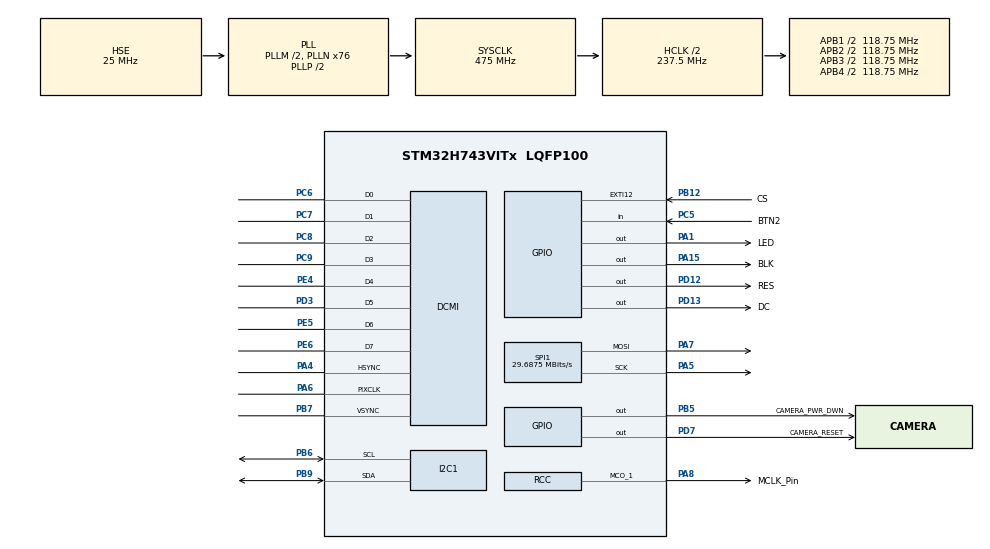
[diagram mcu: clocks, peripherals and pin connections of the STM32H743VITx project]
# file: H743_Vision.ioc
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CORTEX_M7.default_mode_Activation=1
DCMI.JPEGMode=DCMI_JPEG_DISABLE
DCMI.PCKPolarity=DCMI_PCKPOLARITY_RISING
DCMI.VSPolarity=DCMI_VSPOLARITY_HIGH
Dma.DCMI.0.Direction=DMA_PERIPH_TO_MEMORY
Dma.DCMI.0.EventEnable=DISABLE
Dma.DCMI.0.FIFOMode=DMA_FIFOMODE_DISABLE
Dma.DCMI.0.Instance=DMA1_Stream1
Dma.DCMI.0.MemDataAlignment=DMA_MDATAALIGN_WORD
Dma.DCMI.0.MemInc=DMA_MINC_ENABLE
Dma.DCMI.0.Mode=DMA_NORMAL
Dma.DCMI.0.PeriphDataAlignment=DMA_PDATAALIGN_WORD
Dma.DCMI.0.PeriphInc=DMA_PINC_DISABLE
Dma.DCMI.0.Polarity=HAL_DMAMUX_REQ_GEN_RISING
Dma.DCMI.0.Priority=DMA_PRIORITY_MEDIUM
Dma.DCMI.0.RequestNumber=1
Dma.DCMI.0.SignalID=NONE
Dma.DCMI.0.SyncEnable=DISABLE
Dma.DCMI.0.SyncPolarity=HAL_DMAMUX_SYNC_NO_EVENT
Dma.DCMI.0.SyncRequestNumber=1
Dma.DCMI.0.SyncSignalID=NONE
Dma.Request0=DCMI
I2C1.Timing=0x307076AD
Mcu.Family=STM32H7
Mcu.Name=STM32H743VITx
Mcu.Package=LQFP100
NVIC.DCMI_IRQn=true\:0\:0\:false\:false\:true\:true\:true\:true
NVIC.DMA1_Stream1_IRQn=true\:0\:0\:false\:false\:true\:false\:true\:true
NVIC.PriorityGroup=NVIC_PRIORITYGROUP_4
PA1.GPIO_Label=LED
PA1.Signal=GPIO_Output
PA13\ (JTMS/SWDIO).Mode=Serial_Wire
PA13\ (JTMS/SWDIO).Signal=DEBUG_JTMS-SWDIO
PA14\ (JTCK/SWCLK).Mode=Serial_Wire
PA14\ (JTCK/SWCLK).Signal=DEBUG_JTCK-SWCLK
PA15\ (JTDI).GPIO_Label=BLK
PA15\ (JTDI).Signal=GPIO_Output
PA4.Mode=Slave_8_bits_External_Synchro
PA4.Signal=DCMI_HSYNC
PA5.Mode=TX_Only_Simplex_Unidirect_Master
PA5.Signal=SPI1_SCK
PA6.Mode=Slave_8_bits_External_Synchro
PA6.Signal=DCMI_PIXCLK
PA7.Mode=TX_Only_Simplex_Unidirect_Master
PA7.Signal=SPI1_MOSI
PA8.GPIO_Label=MCLK_Pin
PA8.Mode=Clock-out-1
PA8.Signal=RCC_MCO_1
PB12.GPIO_Label=CS
PB12.GPIO_PuPd=GPIO_PULLDOWN
PB12.Signal=GPXTI12
PB5.GPIO_Label=CAMERA_PWR_DWN
PB5.Signal=GPIO_Output
PB6.Mode=I2C
PB6.Signal=I2C1_SCL
PB7.Mode=Slave_8_bits_External_Synchro
PB7.Signal=DCMI_VSYNC
PB9.Mode=I2C
PB9.Signal=I2C1_SDA
PC14-OSC32_IN\ (OSC32_IN).Mode=LSE-External-Clock-Source
PC14-OSC32_IN\ (OSC32_IN).Signal=RCC_OSC32_IN
PC5.GPIO_Label=BTN2
PC5.GPIO_PuPd=GPIO_PULLUP
PC5.Signal=GPIO_Input
PC6.Mode=Slave_8_bits_External_Synchro
PC6.Signal=DCMI_D0
PC7.Mode=Slave_8_bits_External_Synchro
PC7.Signal=DCMI_D1
PC8.Mode=Slave_8_bits_External_Synchro
PC8.Signal=DCMI_D2
PC9.Mode=Slave_8_bits_External_Synchro
PC9.Signal=DCMI_D3
PD12.GPIO_Label=RES
PD12.Signal=GPIO_Output
PD13.GPIO_Label=DC
PD13.Signal=GPIO_Output
PD3.Mode=Slave_8_bits_External_Synchro
PD3.Signal=DCMI_D5
PD7.GPIO_Label=CAMERA_RESET
PD7.Signal=GPIO_Output
PE4.Mode=Slave_8_bits_External_Synchro
PE4.Signal=DCMI_D4
PE5.Mode=Slave_8_bits_External_Synchro
PE5.Signal=DCMI_D6
PE6.Mode=Slave_8_bits_External_Synchro
PE6.Signal=DCMI_D7
PH0-OSC_IN\ (PH0).Mode=HSE-External-Oscillator
PH0-OSC_IN\ (PH0).Signal=RCC_OSC_IN
PH1-OSC_OUT\ (PH1).Mode=HSE-External-Oscillator
PH1-OSC_OUT\ (PH1).Signal=RCC_OSC_OUT
ProjectManager.HeapSize=0x200
ProjectManager.StackSize=0x400
ProjectManager.TargetToolchain=STM32CubeIDE
RCC.ADCFreq_Value=50390625
RCC.APB1Freq_Value=118750000
RCC.APB2Freq_Value=118750000
RCC.APB3Freq_Value=118750000
RCC.APB4Freq_Value=118750000
RCC.CortexFreq_Value=475000000
RCC.D1PPRE=RCC_APB3_DIV2
RCC.D2PPRE1=RCC_APB1_DIV2
RCC.D2PPRE2=RCC_APB2_DIV2
RCC.D3PPRE=RCC_APB4_DIV2
RCC.DIVM1=2
RCC.DIVN1=76
RCC.DIVQ1=16
RCC.HCLKFreq_Value=237500000
RCC.HPRE=RCC_HCLK_DIV2
RCC.PLLSourceVirtual=RCC_PLLSOURCE_HSE
RCC.RCC_MCO1Source=RCC_MCO1SOURCE_HSE
RCC.SYSCLKFreq_VALUE=475000000
RCC.SYSCLKSource=RCC_SYSCLKSOURCE_PLLCLK
RCC.USBFreq_Value=59375000
SPI1.BaudRatePrescaler=SPI_BAUDRATEPRESCALER_2
SPI1.CLKPhase=SPI_PHASE_2EDGE
SPI1.CLKPolarity=SPI_POLARITY_HIGH
SPI1.CalculateBaudRate=29.6875 MBits/s
SPI1.DataSize=SPI_DATASIZE_8BIT
SPI1.Direction=SPI_DIRECTION_2LINES_TXONLY
SPI1.Mode=SPI_MODE_MASTER
SPI1.VirtualType=VM_MASTER
VP_MEMORYMAP_VS_MEMORYMAP.Mode=CurAppReg
board=custom

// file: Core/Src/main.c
/* USER CODE BEGIN Header */
/**
  ******************************************************************************
  * @file           : main.c
  * @brief          : Main program body
  ******************************************************************************
  * @attention
  *
  * Copyright (c) 2025 STMicroelectronics.
  * All rights reserved.
  *
  * This software is licensed under terms that can be found in the LICENSE file
  * in the root directory of this software component.
  * If no LICENSE file comes with this software, it is provided AS-IS.
  *
  ******************************************************************************
  */
/* USER CODE END Header */
#include "main.h"

/* USER CODE BEGIN Includes */
#include <OV7670.h>
#include <st7789.h>
/* USER CODE END Includes */

DCMI_HandleTypeDef hdcmi;
DMA_HandleTypeDef hdma_dcmi;

I2C_HandleTypeDef hi2c1;

SPI_HandleTypeDef hspi1;

/* USER CODE BEGIN PV */
uint32_t frame_buffer[OV7670_QVGA_WIDTH * OV7670_QVGA_HEIGHT/2];
uint8_t new_capture = 0;
/* USER CODE END PV */

void SystemClock_Config(void);
static void MPU_Config(void);
static void MX_GPIO_Init(void);
static void MX_DMA_Init(void);
static void MX_DCMI_Init(void);
static void MX_I2C1_Init(void);
static void MX_SPI1_Init(void);
/* USER CODE BEGIN PFP */
static void onFrameCallback();
/* USER CODE END PFP */

int main(void)
{

  /* MPU Configuration--------------------------------------------------------*/
  MPU_Config();

  /* MCU Configuration--------------------------------------------------------*/

  /* Reset of all peripherals, Initializes the Flash interface and the Systick. */
  HAL_Init();

  /* Configure the system clock */
  SystemClock_Config();

  /* Initialize all configured peripherals */
  MX_GPIO_Init();
  MX_DMA_Init();
  MX_DCMI_Init();
  MX_I2C1_Init();
  MX_SPI1_Init();
  /* USER CODE BEGIN 2 */
  HAL_GPIO_WritePin( BLK_GPIO_Port, BLK_Pin, GPIO_PIN_SET );
  ST7789_Init();
  ST7789_rotation( 2 );

  HAL_GPIO_WritePin(CAMERA_PWR_DWN_GPIO_Port, CAMERA_PWR_DWN_Pin, GPIO_PIN_RESET);
  ov7670_init(&hdcmi, &hdma_dcmi, &hi2c1);
  ov7670_config(OV7670_MODE_QVGA_RGB565);
  ov7670_registerCallback(NULL, NULL, &onFrameCallback);
//  ov7670_write(0x11, 0x01);
  /* USER CODE END 2 */

  /* Infinite loop */
  /* USER CODE BEGIN WHILE */
  ov7670_write(0x12, 0x14);
//  ST7789_SendData(ST7789_MADCTL_BGR);
  while (1)
  {
//	if (new_capture) ILI9341_Draw_Image_From_OV7670((unsigned char*) frame_buffer);
	if (new_capture) {
//		ST7789_Clear();
//		ST7789_DrawCircle(100, 100, 50, RGB565(255, 0, 0));
		ST7789_DrawImage(0, 0, 320, 240, (uint16_t *)frame_buffer);
		ST7789_Update();
		HAL_GPIO_TogglePin(LED_GPIO_Port, LED_Pin);
	}
//	if (HAL_GPIO_ReadPin(BTN2_GPIO_Port, BTN2_Pin) == 0) HAL_GPIO_TogglePin(LED_GPIO_Port, LED_Pin);
	if (HAL_GPIO_ReadPin(BTN2_GPIO_Port, BTN2_Pin) == 0){
	    //ov7670_startCap(OV7670_CAP_SINGLE_FRAME, (uint32_t)frame_buffer);
//		HAL_GPIO_TogglePin(LED_GPIO_Port, LED_Pin);
	    ov7670_startCap(OV7670_CAP_SINGLE_FRAME, (uint32_t)frame_buffer);
    }
//	ST7789_FillScreen(RGB565(0, 255, 0));
	ST7789_Update();
	ov7670_startCap(OV7670_CAP_SINGLE_FRAME, (uint32_t)frame_buffer);
    /* USER CODE END WHILE */

  }
}

void SystemClock_Config(void)
{
  RCC_OscInitTypeDef RCC_OscInitStruct = {0};
  RCC_ClkInitTypeDef RCC_ClkInitStruct = {0};

  /** Supply configuration update enable
  */
  HAL_PWREx_ConfigSupply(PWR_LDO_SUPPLY);

  /** Configure the main internal regulator output voltage
  */
  __HAL_PWR_VOLTAGESCALING_CONFIG(PWR_REGULATOR_VOLTAGE_SCALE0);

  while(!__HAL_PWR_GET_FLAG(PWR_FLAG_VOSRDY)) {}

  /** Initializes the RCC Oscillators according to the specified parameters
  * in the RCC_OscInitTypeDef structure.
  */
  RCC_OscInitStruct.OscillatorType = RCC_OSCILLATORTYPE_HSE;
  RCC_OscInitStruct.HSEState = RCC_HSE_ON;
  RCC_OscInitStruct.PLL.PLLState = RCC_PLL_ON;
  RCC_OscInitStruct.PLL.PLLSource = RCC_PLLSOURCE_HSE;
  RCC_OscInitStruct.PLL.PLLM = 2;
  RCC_OscInitStruct.PLL.PLLN = 76;
  RCC_OscInitStruct.PLL.PLLP = 2;
  RCC_OscInitStruct.PLL.PLLQ = 16;
  RCC_OscInitStruct.PLL.PLLR = 2;
  RCC_OscInitStruct.PLL.PLLRGE = RCC_PLL1VCIRANGE_3;
  RCC_OscInitStruct.PLL.PLLVCOSEL = RCC_PLL1VCOWIDE;
  RCC_OscInitStruct.PLL.PLLFRACN = 0;
  if (HAL_RCC_OscConfig(&RCC_OscInitStruct) != HAL_OK)
  {
    Error_Handler();
  }

  /** Initializes the CPU, AHB and APB buses clocks
  */
  RCC_ClkInitStruct.ClockType = RCC_CLOCKTYPE_HCLK|RCC_CLOCKTYPE_SYSCLK
                              |RCC_CLOCKTYPE_PCLK1|RCC_CLOCKTYPE_PCLK2
                              |RCC_CLOCKTYPE_D3PCLK1|RCC_CLOCKTYPE_D1PCLK1;
  RCC_ClkInitStruct.SYSCLKSource = RCC_SYSCLKSOURCE_PLLCLK;
  RCC_ClkInitStruct.SYSCLKDivider = RCC_SYSCLK_DIV1;
  RCC_ClkInitStruct.AHBCLKDivider = RCC_HCLK_DIV2;
  RCC_ClkInitStruct.APB3CLKDivider = RCC_APB3_DIV2;
  RCC_ClkInitStruct.APB1CLKDivider = RCC_APB1_DIV2;
  RCC_ClkInitStruct.APB2CLKDivider = RCC_APB2_DIV2;
  RCC_ClkInitStruct.APB4CLKDivider = RCC_APB4_DIV2;

  if (HAL_RCC_ClockConfig(&RCC_ClkInitStruct, FLASH_LATENCY_4) != HAL_OK)
  {
    Error_Handler();
  }
  HAL_RCC_MCOConfig(RCC_MCO1, RCC_MCO1SOURCE_HSE, RCC_MCODIV_1);
}

static void MX_DCMI_Init(void)
{

  hdcmi.Instance = DCMI;
  hdcmi.Init.SynchroMode = DCMI_SYNCHRO_HARDWARE;
  hdcmi.Init.PCKPolarity = DCMI_PCKPOLARITY_RISING;
  hdcmi.Init.VSPolarity = DCMI_VSPOLARITY_HIGH;
  hdcmi.Init.HSPolarity = DCMI_HSPOLARITY_LOW;
  hdcmi.Init.CaptureRate = DCMI_CR_ALL_FRAME;
  hdcmi.Init.ExtendedDataMode = DCMI_EXTEND_DATA_8B;
  hdcmi.Init.JPEGMode = DCMI_JPEG_DISABLE;
  hdcmi.Init.ByteSelectMode = DCMI_BSM_ALL;
  hdcmi.Init.ByteSelectStart = DCMI_OEBS_ODD;
  hdcmi.Init.LineSelectMode = DCMI_LSM_ALL;
  hdcmi.Init.LineSelectStart = DCMI_OELS_ODD;
  if (HAL_DCMI_Init(&hdcmi) != HAL_OK)
  {
    Error_Handler();
  }

}

static void MX_I2C1_Init(void)
{

  hi2c1.Instance = I2C1;
  hi2c1.Init.Timing = 0x307076AD;
  hi2c1.Init.OwnAddress1 = 0;
  hi2c1.Init.AddressingMode = I2C_ADDRESSINGMODE_7BIT;
  hi2c1.Init.DualAddressMode = I2C_DUALADDRESS_DISABLE;
  hi2c1.Init.OwnAddress2 = 0;
  hi2c1.Init.OwnAddress2Masks = I2C_OA2_NOMASK;
  hi2c1.Init.GeneralCallMode = I2C_GENERALCALL_DISABLE;
  hi2c1.Init.NoStretchMode = I2C_NOSTRETCH_DISABLE;
  if (HAL_I2C_Init(&hi2c1) != HAL_OK)
  {
    Error_Handler();
  }

  /** Configure Analogue filter
  */
  if (HAL_I2CEx_ConfigAnalogFilter(&hi2c1, I2C_ANALOGFILTER_ENABLE) != HAL_OK)
  {
    Error_Handler();
  }

  /** Configure Digital filter
  */
  if (HAL_I2CEx_ConfigDigitalFilter(&hi2c1, 0) != HAL_OK)
  {
    Error_Handler();
  }

}

static void MX_SPI1_Init(void)
{

  /* SPI1 parameter configuration*/
  hspi1.Instance = SPI1;
  hspi1.Init.Mode = SPI_MODE_MASTER;
  hspi1.Init.Direction = SPI_DIRECTION_2LINES_TXONLY;
  hspi1.Init.DataSize = SPI_DATASIZE_8BIT;
  hspi1.Init.CLKPolarity = SPI_POLARITY_HIGH;
  hspi1.Init.CLKPhase = SPI_PHASE_2EDGE;
  hspi1.Init.NSS = SPI_NSS_SOFT;
  hspi1.Init.BaudRatePrescaler = SPI_BAUDRATEPRESCALER_2;
  hspi1.Init.FirstBit = SPI_FIRSTBIT_MSB;
  hspi1.Init.TIMode = SPI_TIMODE_DISABLE;
  hspi1.Init.CRCCalculation = SPI_CRCCALCULATION_DISABLE;
  hspi1.Init.CRCPolynomial = 0x0;
  hspi1.Init.NSSPMode = SPI_NSS_PULSE_ENABLE;
  hspi1.Init.NSSPolarity = SPI_NSS_POLARITY_LOW;
  hspi1.Init.FifoThreshold = SPI_FIFO_THRESHOLD_01DATA;
  hspi1.Init.TxCRCInitializationPattern = SPI_CRC_INITIALIZATION_ALL_ZERO_PATTERN;
  hspi1.Init.RxCRCInitializationPattern = SPI_CRC_INITIALIZATION_ALL_ZERO_PATTERN;
  hspi1.Init.MasterSSIdleness = SPI_MASTER_SS_IDLENESS_00CYCLE;
  hspi1.Init.MasterInterDataIdleness = SPI_MASTER_INTERDATA_IDLENESS_00CYCLE;
  hspi1.Init.MasterReceiverAutoSusp = SPI_MASTER_RX_AUTOSUSP_DISABLE;
  hspi1.Init.MasterKeepIOState = SPI_MASTER_KEEP_IO_STATE_DISABLE;
  hspi1.Init.IOSwap = SPI_IO_SWAP_DISABLE;
  if (HAL_SPI_Init(&hspi1) != HAL_OK)
  {
    Error_Handler();
  }

}

static void MX_DMA_Init(void)
{

  /* DMA controller clock enable */
  __HAL_RCC_DMA1_CLK_ENABLE();

  /* DMA interrupt init */
  /* DMA1_Stream1_IRQn interrupt configuration */
  HAL_NVIC_SetPriority(DMA1_Stream1_IRQn, 0, 0);
  HAL_NVIC_EnableIRQ(DMA1_Stream1_IRQn);

}

static void MX_GPIO_Init(void)
{
  GPIO_InitTypeDef GPIO_InitStruct = {0};

  /* GPIO Ports Clock Enable */
  __HAL_RCC_GPIOE_CLK_ENABLE();
  __HAL_RCC_GPIOC_CLK_ENABLE();
  __HAL_RCC_GPIOH_CLK_ENABLE();
  __HAL_RCC_GPIOA_CLK_ENABLE();
  __HAL_RCC_GPIOB_CLK_ENABLE();
  __HAL_RCC_GPIOD_CLK_ENABLE();

  /*Configure GPIO pin Output Level */
  HAL_GPIO_WritePin(GPIOA, LED_Pin|BLK_Pin, GPIO_PIN_RESET);

  /*Configure GPIO pin Output Level */
  HAL_GPIO_WritePin(GPIOD, RES_Pin|DC_Pin|CAMERA_RESET_Pin, GPIO_PIN_RESET);

  /*Configure GPIO pin Output Level */
  HAL_GPIO_WritePin(CAMERA_PWR_DWN_GPIO_Port, CAMERA_PWR_DWN_Pin, GPIO_PIN_RESET);

  /*Configure GPIO pins : LED_Pin BLK_Pin */
  GPIO_InitStruct.Pin = LED_Pin|BLK_Pin;
  GPIO_InitStruct.Mode = GPIO_MODE_OUTPUT_PP;
  GPIO_InitStruct.Pull = GPIO_NOPULL;
  GPIO_InitStruct.Speed = GPIO_SPEED_FREQ_LOW;
  HAL_GPIO_Init(GPIOA, &GPIO_InitStruct);

  /*Configure GPIO pin : BTN2_Pin */
  GPIO_InitStruct.Pin = BTN2_Pin;
  GPIO_InitStruct.Mode = GPIO_MODE_INPUT;
  GPIO_InitStruct.Pull = GPIO_PULLUP;
  HAL_GPIO_Init(BTN2_GPIO_Port, &GPIO_InitStruct);

  /*Configure GPIO pin : CS_Pin */
  GPIO_InitStruct.Pin = CS_Pin;
  GPIO_InitStruct.Mode = GPIO_MODE_IT_RISING;
  GPIO_InitStruct.Pull = GPIO_PULLDOWN;
  HAL_GPIO_Init(CS_GPIO_Port, &GPIO_InitStruct);

  /*Configure GPIO pins : RES_Pin DC_Pin CAMERA_RESET_Pin */
  GPIO_InitStruct.Pin = RES_Pin|DC_Pin|CAMERA_RESET_Pin;
  GPIO_InitStruct.Mode = GPIO_MODE_OUTPUT_PP;
  GPIO_InitStruct.Pull = GPIO_NOPULL;
  GPIO_InitStruct.Speed = GPIO_SPEED_FREQ_LOW;
  HAL_GPIO_Init(GPIOD, &GPIO_InitStruct);

  /*Configure GPIO pin : MCLK_Pin_Pin */
  GPIO_InitStruct.Pin = MCLK_Pin_Pin;
  GPIO_InitStruct.Mode = GPIO_MODE_AF_PP;
  GPIO_InitStruct.Pull = GPIO_NOPULL;
  GPIO_InitStruct.Speed = GPIO_SPEED_FREQ_LOW;
  GPIO_InitStruct.Alternate = GPIO_AF0_MCO;
  HAL_GPIO_Init(MCLK_Pin_GPIO_Port, &GPIO_InitStruct);

  /*Configure GPIO pin : CAMERA_PWR_DWN_Pin */
  GPIO_InitStruct.Pin = CAMERA_PWR_DWN_Pin;
  GPIO_InitStruct.Mode = GPIO_MODE_OUTPUT_PP;
  GPIO_InitStruct.Pull = GPIO_NOPULL;
  GPIO_InitStruct.Speed = GPIO_SPEED_FREQ_LOW;
  HAL_GPIO_Init(CAMERA_PWR_DWN_GPIO_Port, &GPIO_InitStruct);

  /*AnalogSwitch Config */
  HAL_SYSCFG_AnalogSwitchConfig(SYSCFG_SWITCH_PA1, SYSCFG_SWITCH_PA1_CLOSE);

}

/* USER CODE BEGIN 4 */
static void onFrameCallback(){
	new_capture = 1;
}

/* USER CODE END 4 */

 /* MPU Configuration */

void MPU_Config(void)
{
  MPU_Region_InitTypeDef MPU_InitStruct = {0};

  /* Disables the MPU */
  HAL_MPU_Disable();

  /** Initializes and configures the Region and the memory to be protected
  */
  MPU_InitStruct.Enable = MPU_REGION_ENABLE;
  MPU_InitStruct.Number = MPU_REGION_NUMBER0;
  MPU_InitStruct.BaseAddress = 0x0;
  MPU_InitStruct.Size = MPU_REGION_SIZE_4GB;
  MPU_InitStruct.SubRegionDisable = 0x87;
  MPU_InitStruct.TypeExtField = MPU_TEX_LEVEL0;
  MPU_InitStruct.AccessPermission = MPU_REGION_NO_ACCESS;
  MPU_InitStruct.DisableExec = MPU_INSTRUCTION_ACCESS_DISABLE;
  MPU_InitStruct.IsShareable = MPU_ACCESS_SHAREABLE;
  MPU_InitStruct.IsCacheable = MPU_ACCESS_NOT_CACHEABLE;
  MPU_InitStruct.IsBufferable = MPU_ACCESS_NOT_BUFFERABLE;

  HAL_MPU_ConfigRegion(&MPU_InitStruct);
  /* Enables the MPU */
  HAL_MPU_Enable(MPU_PRIVILEGED_DEFAULT);

}

void Error_Handler(void)
{
  __disable_irq();
  while (1)
  {
  }
}
